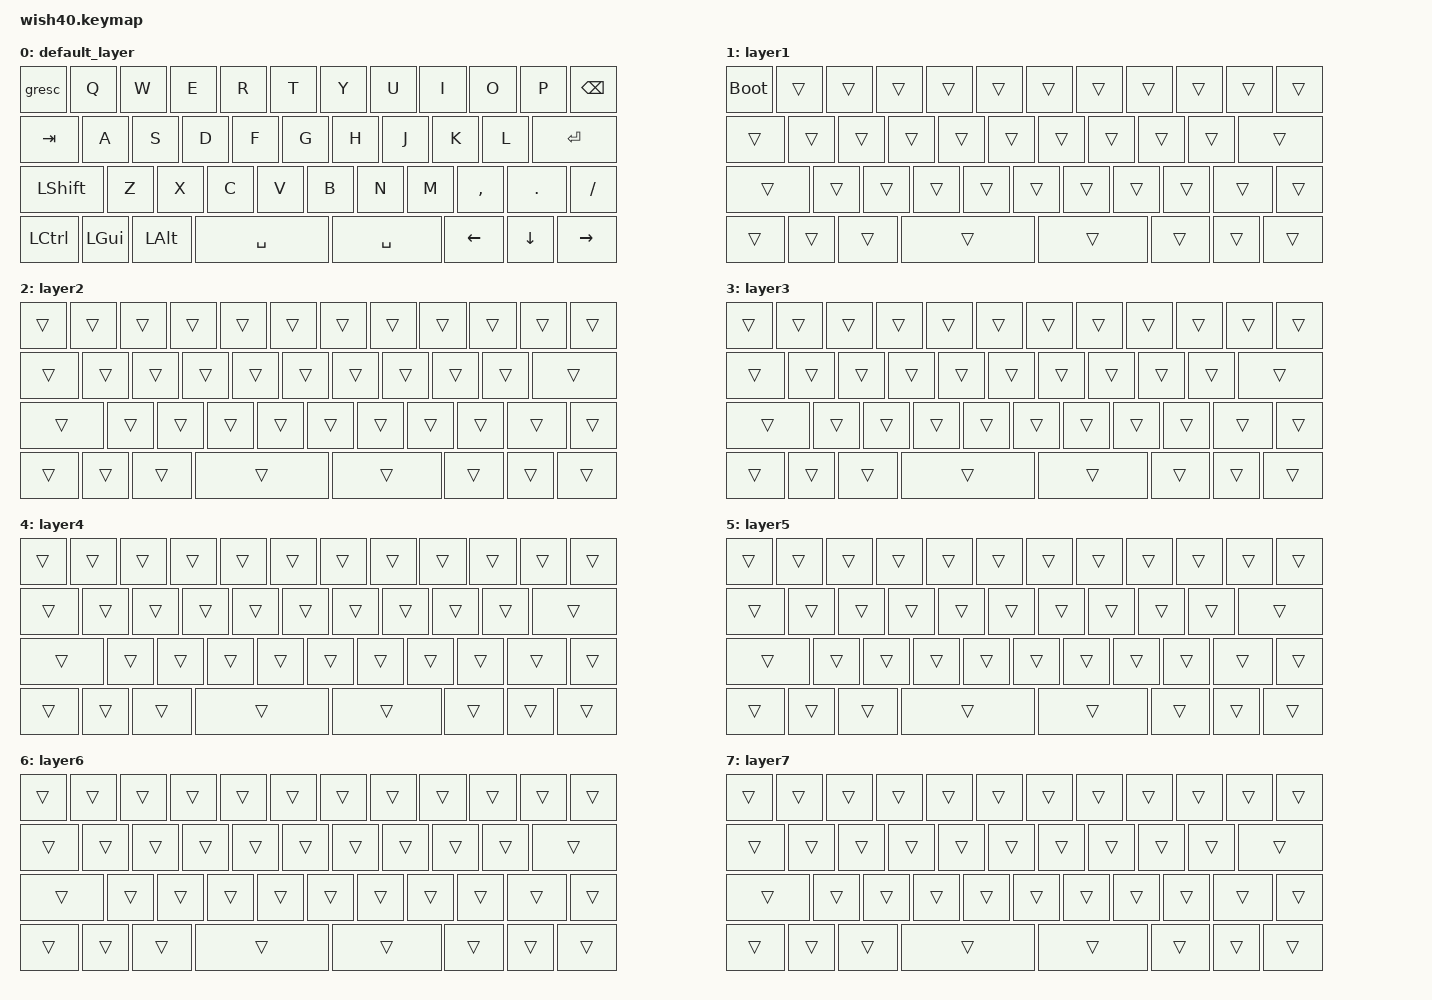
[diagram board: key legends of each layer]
/*
 * Copyright (c) 2021 Nick Winans
 *
 * SPDX-License-Identifier: MIT
 */

#include <behaviors.dtsi>
#include <dt-bindings/zmk/keys.h>
#include <dt-bindings/zmk/rgb.h>
#include <dt-bindings/zmk/bt.h>

#define ZMK_POINTING_DEFAULT_MOVE_VAL 3000  // default: 600
#define ZMK_POINTING_DEFAULT_SCRL_VAL 40    // default: 10

#include <dt-bindings/zmk/pointing.h>


&soft_off {
  hold-time-ms = <3000>; 
};

/ {
    keymap {
        compatible = "zmk,keymap";

        default_layer {
            // -------------------------------------------------------------------------------
            // | ESC   |  Q    |  W    |  E  |  R  |  T  |  Y  |  U  |  I  |  O  |  P  |BSPC |
            // | TAB   |       |  A    |  S  |  D  |  F  |  G  |  H  |  J  |  K  |  L  |  ;  |
            // | SHIFT |       |  Z    |  X  |  C  |  V  |  B  |  N  |  M  |  ,  |  .  |  /  | 
            // | CTL   |  WIN  |  ALT  |     |     |     |SPACE|     |     |     |MO(1)| WIN | 
            // -------------------------------------------------------------------------------
            bindings = <
            &gresc    &kp Q     &kp W     &kp E  &kp R  &kp T  &kp Y  &kp U  &kp I  &kp O     &kp P     &kp BSPC  
            &kp TAB             &kp A     &kp S  &kp D  &kp F  &kp G  &kp H  &kp J  &kp K     &kp L     &kp RET
            &kp LSHFT           &kp Z     &kp X  &kp C  &kp V  &kp B  &kp N  &kp M  &kp COMMA &kp DOT   &kp FSLH
            &kp LCTRL &kp LGUI  &kp LALT         &kp SPACE     &kp SPACE            &kp LEFT  &kp DOWN  &kp RIGHT
          >;
        };

        layer1 {
          bindings = <
            &bootloader &trans  &trans  &trans  &trans  &trans  &trans  &trans  &trans  &trans  &trans  &trans  
            &trans              &trans  &trans  &trans  &trans  &trans  &trans  &trans  &trans  &trans  &trans  
            &trans              &trans  &trans  &trans  &trans  &trans  &trans  &trans  &trans  &trans  &trans       
            &trans      &trans  &trans          &trans          &trans                  &trans  &trans  &trans  
          >;
        };

        layer2 {
          bindings = <
            &trans      &trans  &trans  &trans  &trans  &trans  &trans  &trans  &trans  &trans  &trans  &trans  
            &trans              &trans  &trans  &trans  &trans  &trans  &trans  &trans  &trans  &trans  &trans  
            &trans              &trans  &trans  &trans  &trans  &trans  &trans  &trans  &trans  &trans  &trans       
            &trans      &trans  &trans          &trans          &trans                  &trans  &trans  &trans  
          >;
        };

        layer3 {
          bindings = <
            &trans      &trans  &trans  &trans  &trans  &trans  &trans  &trans  &trans  &trans  &trans  &trans  
            &trans              &trans  &trans  &trans  &trans  &trans  &trans  &trans  &trans  &trans  &trans  
            &trans              &trans  &trans  &trans  &trans  &trans  &trans  &trans  &trans  &trans  &trans       
            &trans      &trans  &trans          &trans          &trans                  &trans  &trans  &trans  
          >;            
        };        

        layer4 {
          bindings = <
            &trans      &trans  &trans  &trans  &trans  &trans  &trans  &trans  &trans  &trans  &trans  &trans  
            &trans              &trans  &trans  &trans  &trans  &trans  &trans  &trans  &trans  &trans  &trans  
            &trans              &trans  &trans  &trans  &trans  &trans  &trans  &trans  &trans  &trans  &trans       
            &trans      &trans  &trans          &trans          &trans                  &trans  &trans  &trans  
          >;            
        };   
        
        layer5 {
          bindings = <
            &trans      &trans  &trans  &trans  &trans  &trans  &trans  &trans  &trans  &trans  &trans  &trans  
            &trans              &trans  &trans  &trans  &trans  &trans  &trans  &trans  &trans  &trans  &trans  
            &trans              &trans  &trans  &trans  &trans  &trans  &trans  &trans  &trans  &trans  &trans       
            &trans      &trans  &trans          &trans          &trans                  &trans  &trans  &trans  
          >;            
        };          

        layer6 {
          bindings = <
            &trans      &trans  &trans  &trans  &trans  &trans  &trans  &trans  &trans  &trans  &trans  &trans  
            &trans              &trans  &trans  &trans  &trans  &trans  &trans  &trans  &trans  &trans  &trans  
            &trans              &trans  &trans  &trans  &trans  &trans  &trans  &trans  &trans  &trans  &trans       
            &trans      &trans  &trans          &trans          &trans                  &trans  &trans  &trans  
          >;            
        };       
        
        layer7 {
          bindings = <
            &trans      &trans  &trans  &trans  &trans  &trans  &trans  &trans  &trans  &trans  &trans  &trans  
            &trans              &trans  &trans  &trans  &trans  &trans  &trans  &trans  &trans  &trans  &trans  
            &trans              &trans  &trans  &trans  &trans  &trans  &trans  &trans  &trans  &trans  &trans       
            &trans      &trans  &trans          &trans          &trans                  &trans  &trans  &trans  
          >;            
        };          
    };
};
